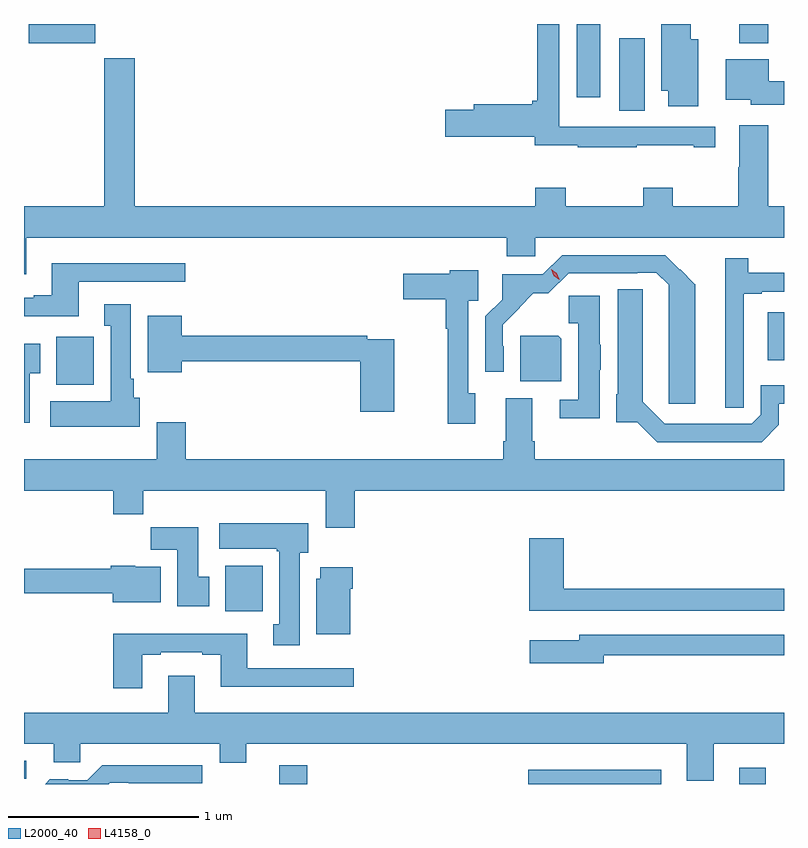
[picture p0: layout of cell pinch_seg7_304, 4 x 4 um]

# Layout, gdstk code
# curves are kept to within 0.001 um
import gdstk
lib = gdstk.Library(unit=1e-6, precision=1e-09)
def R(c, l, rs):  # rectangles x0, y0, x1, y1
    for r in rs: c.add(gdstk.rectangle(r[:2], r[2:], *l))
def P(c, l, *ps):  # polygons
    for p in ps: c.add(gdstk.Polygon(p, *l))
L2000_40 = (2000, 40)
L4158_0 = (4158, 0)

pinch_seg7_304 = lib.new_cell('pinch_seg7_304')
R(pinch_seg7_304, L2000_40, [(542.972,1065.672,543.119,1065.772), (544.281,1065.672,544.981,1065.748), (545.393,1065.672,545.533,1065.757), (541.628,1065.699,541.639,1065.795), (542.687,1066.58,542.884,1066.822), (541.799,1067.774,541.995,1068.025), (545.543,1067.903,545.628,1068.154), (544.76,1069.216,544.894,1069.597), (544.538,1069.287,544.66,1069.672), (541.652,1069.571,542.002,1069.672), (545.393,1069.571,545.546,1069.672)])
P(pinch_seg7_304, L2000_40, [(545.176,1069.591),(545.137,1069.591),(545.137,1069.672),(544.982,1069.672),(544.982,1069.322),(545.018,1069.322),(545.018,1069.239),(545.176,1069.239)],
  [(544.853,1069.033),(545.153,1069.033),(545.153,1069.023),(545.266,1069.023),(545.266,1069.131),(544.656,1069.131),(544.656,1069.132),(544.446,1069.132),(544.446,1069.672),(544.33,1069.672),(544.33,1069.267),(544.304,1069.267),(544.304,1069.25),(543.995,1069.25),(543.995,1069.22),(543.846,1069.22),(543.846,1069.078),(544.316,1069.078),(544.316,1069.033),(544.543,1069.033),(544.543,1069.023),(544.853,1069.023)],
  [(541.639,1068.548),(544.169,1068.548),(544.169,1068.45),(544.32,1068.45),(544.32,1068.548),(545.628,1068.548),(545.628,1068.712),(545.546,1068.712),(545.546,1069.138),(545.393,1069.138),(545.393,1068.917),(545.386,1068.917),(545.386,1068.712),(545.043,1068.712),(545.043,1068.811),(544.888,1068.811),(544.888,1068.712),(544.479,1068.712),(544.479,1068.811),(544.319,1068.811),(544.319,1068.712),(542.21,1068.712),(542.21,1069.492),(542.05,1069.492),(542.05,1068.712),(541.628,1068.712),(541.628,1068.354),(541.639,1068.354)],
  [(545.628,1069.37),(545.548,1069.37),(545.548,1069.486),(545.321,1069.486),(545.321,1069.274),(545.454,1069.274),(545.454,1069.247),(545.628,1069.247)],
  [(545.161,1068.303),(545.158,1068.303),(545.081,1068.38),(545.08,1068.379),(545.002,1068.456),(544.461,1068.456),(544.359,1068.354),(544.145,1068.354),(544.145,1068.222),(544.056,1068.133),(544.056,1067.841),(544.152,1067.841),(544.152,1067.975),(544.149,1067.975),(544.149,1068.09),(544.238,1068.179),(544.236,1068.181),(544.309,1068.254),(544.388,1068.254),(544.494,1068.36),(544.856,1068.36),(544.856,1068.363),(544.956,1068.363),(545.021,1068.299),(545.021,1067.673),(545.161,1067.673)],
  [(545.415,1068.252),(545.512,1068.252),(545.512,1068.264),(545.628,1068.264),(545.628,1068.362),(545.439,1068.362),(545.439,1068.439),(545.318,1068.439),(545.318,1067.653),(545.415,1067.653)],
  [(541.915,1068.315),(542.476,1068.315),(542.476,1068.412),(541.775,1068.412),(541.775,1068.244),(541.679,1068.244),(541.679,1068.231),(541.628,1068.231),(541.628,1068.134),(541.915,1068.134)],
  [(544.003,1067.729),(543.966,1067.729),(543.966,1068.216),(544.019,1068.216),(544.019,1068.376),(543.87,1068.376),(543.87,1068.358),(543.624,1068.358),(543.624,1068.224),(543.849,1068.224),(543.849,1068.069),(543.858,1068.069),(543.858,1067.568),(544.003,1067.568)],
  [(545.601,1067.562),(545.601,1067.673),(545.628,1067.673),(545.628,1067.771),(545.505,1067.771),(545.505,1067.616),(545.457,1067.568),(545.001,1067.568),(544.885,1067.684),(544.885,1068.275),(544.754,1068.275),(544.754,1067.724),(544.745,1067.724),(544.745,1067.577),(544.856,1067.577),(544.961,1067.472),(545.511,1067.472)],
  [(544.657,1067.853),(544.663,1067.853),(544.663,1067.985),(544.657,1067.985),(544.657,1068.241),(544.496,1068.241),(544.496,1068.096),(544.544,1068.096),(544.544,1067.694),(544.449,1067.694),(544.449,1067.597),(544.657,1067.597)],
  [(542.236,1067.706),(542.206,1067.706),(542.206,1067.806),(542.191,1067.806),(542.191,1068.196),(542.051,1068.196),(542.051,1068.083),(542.084,1068.083),(542.084,1067.686),(541.767,1067.686),(541.767,1067.552),(542.236,1067.552)],
  [(543.576,1068.012),(543.434,1068.012),(543.434,1068.032),(542.458,1068.032),(542.458,1068.136),(542.279,1068.136),(542.279,1067.84),(542.458,1067.84),(542.458,1067.896),(543.398,1067.896),(543.398,1067.631),(543.576,1067.631)],
  [(544.456,1068.015),(544.44,1068.031),(544.241,1068.031),(544.241,1067.792),(544.456,1067.792)],
  [(541.657,1067.833),(541.714,1067.833),(541.714,1067.989),(541.628,1067.989),(541.628,1067.574),(541.657,1067.574)],
  [(544.303,1067.476),(544.303,1067.701),(544.163,1067.701),(544.163,1067.476),(544.151,1067.476),(544.151,1067.38),(542.48,1067.38),(542.48,1067.575),(542.327,1067.575),(542.327,1067.38),(541.628,1067.38),(541.628,1067.216),(542.099,1067.216),(542.099,1067.092),(542.255,1067.092),(542.255,1067.216),(543.215,1067.216),(543.215,1067.022),(543.368,1067.022),(543.368,1067.216),(545.628,1067.216),(545.628,1067.38),(544.316,1067.38),(544.316,1067.476)],
  [(543.079,1066.89),(543.124,1066.89),(543.124,1067.044),(542.655,1067.044),(542.655,1066.91),(542.959,1066.91),(542.959,1066.897),(542.972,1066.897),(542.972,1066.514),(542.939,1066.514),(542.939,1066.401),(543.079,1066.401)],
  [(542.602,1066.764),(542.545,1066.764),(542.545,1067.023),(542.296,1067.023),(542.296,1066.904),(542.435,1066.904),(542.435,1066.608),(542.602,1066.608)],
  [(545.628,1066.7),(544.469,1066.7),(544.469,1066.966),(544.286,1066.966),(544.286,1066.584),(545.628,1066.584)],
  [(542.347,1066.816),(542.214,1066.816),(542.214,1066.822),(542.084,1066.822),(542.084,1066.804),(541.628,1066.804),(541.628,1066.675),(542.096,1066.675),(542.096,1066.628),(542.347,1066.628)],
  [(543.346,1066.7),(543.359,1066.7),(543.359,1066.813),(543.188,1066.813),(543.188,1066.752),(543.167,1066.752),(543.167,1066.46),(543.346,1066.46)],
  [(542.251,1066.353),(542.347,1066.353),(542.347,1066.365),(542.567,1066.365),(542.567,1066.353),(542.663,1066.353),(542.663,1066.184),(543.364,1066.184),(543.364,1066.281),(542.803,1066.281),(542.803,1066.462),(542.099,1066.462),(542.099,1066.176),(542.251,1066.176)],
  [(544.678,1066.35),(545.628,1066.35),(545.628,1066.458),(544.55,1066.458),(544.55,1066.429),(544.29,1066.429),(544.29,1066.307),(544.678,1066.307)],
  [(545.257,1065.884),(545.628,1065.884),(545.628,1066.048),(542.527,1066.048),(542.527,1066.243),(542.387,1066.243),(542.387,1066.048),(541.628,1066.048),(541.628,1065.884),(541.784,1065.884),(541.784,1065.786),(541.923,1065.786),(541.923,1065.884),(542.657,1065.884),(542.657,1065.785),(542.797,1065.785),(542.797,1065.884),(545.117,1065.884),(545.117,1065.69),(545.257,1065.69)],
  [(542.079,1065.678),(542.179,1065.678),(542.179,1065.675),(542.566,1065.675),(542.566,1065.771),(542.041,1065.772),(541.962,1065.693),(541.862,1065.693),(541.862,1065.696),(541.764,1065.696),(541.74,1065.672),(542.073,1065.672)])
P(pinch_seg7_304, L4158_0, [(544.445,1068.327),(544.416,1068.348),(544.402,1068.381),(544.402,1068.381),(544.402,1068.381),(544.431,1068.361),(544.446,1068.328),(544.446,1068.327)])

lib.write_gds('pinch_seg7_304.gds')
